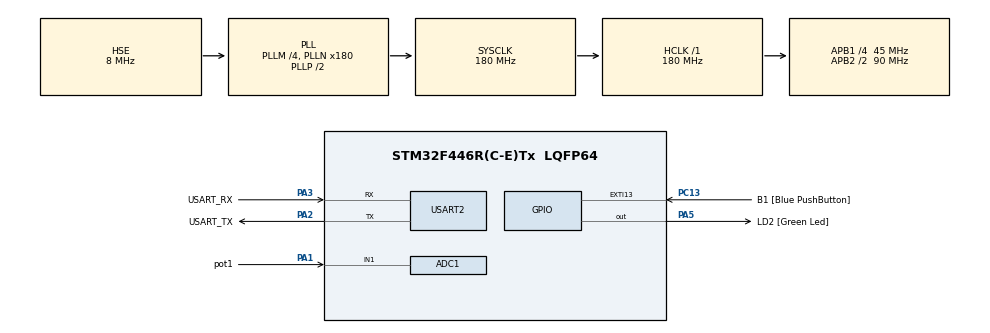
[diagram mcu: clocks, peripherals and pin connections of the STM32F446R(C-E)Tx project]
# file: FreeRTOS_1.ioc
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ADC1.Channel-0\#ChannelRegularConversion=ADC_CHANNEL_1
ADC1.NbrOfConversionFlag=1
ADC1.Rank-0\#ChannelRegularConversion=1
ADC1.SamplingTime-0\#ChannelRegularConversion=ADC_SAMPLETIME_3CYCLES
ADC1.master=1
FREERTOS.Tasks01=ledTask1,-3,128,StartDefaultTask,Default,NULL,Dynamic,NULL,NULL;uartTask,-3,128,StartTask02,Default,NULL,Dynamic,NULL,NULL;adcTask,-3,128,StartTask03,Default,NULL,Dynamic,NULL,NULL
Mcu.Family=STM32F4
Mcu.Name=STM32F446R(C-E)Tx
Mcu.Package=LQFP64
NVIC.PriorityGroup=NVIC_PRIORITYGROUP_4
NVIC.TIM8_UP_TIM13_IRQn=true\:15\:0\:false\:false\:true\:false\:false\:true\:true
NVIC.TimeBase=TIM8_UP_TIM13_IRQn
NVIC.TimeBaseIP=TIM8
PA1.GPIO_Label=pot1
PA1.Signal=ADCx_IN1
PA13.GPIO_Label=TMS
PA13.Mode=Serial_Wire
PA13.Signal=SYS_JTMS-SWDIO
PA14.GPIO_Label=TCK
PA14.Mode=Serial_Wire
PA14.Signal=SYS_JTCK-SWCLK
PA2.GPIO_Label=USART_TX
PA2.Mode=Asynchronous
PA2.Signal=USART2_TX
PA3.GPIO_Label=USART_RX
PA3.Mode=Asynchronous
PA3.Signal=USART2_RX
PA5.GPIO_Label=LD2 [Green Led]
PA5.Signal=GPIO_Output
PB3.GPIO_Label=SWO
PB3.Signal=SYS_JTDO-SWO
PC13.GPIO_Label=B1 [Blue PushButton]
PC13.GPIO_ModeDefaultEXTI=GPIO_MODE_IT_FALLING
PC13.Signal=GPXTI13
PC14-OSC32_IN.Mode=LSE-External-Oscillator
PC14-OSC32_IN.Signal=RCC_OSC32_IN
PC15-OSC32_OUT.Mode=LSE-External-Oscillator
PC15-OSC32_OUT.Signal=RCC_OSC32_OUT
PH0-OSC_IN.Mode=HSE-External-Oscillator
PH0-OSC_IN.Signal=RCC_OSC_IN
PH1-OSC_OUT.Mode=HSE-External-Oscillator
PH1-OSC_OUT.Signal=RCC_OSC_OUT
ProjectManager.HeapSize=0x200
ProjectManager.StackSize=0x400
ProjectManager.TargetToolchain=STM32CubeIDE
RCC.48MHZClocksFreq_Value=84000000
RCC.AHBFreq_Value=180000000
RCC.APB1CLKDivider=RCC_HCLK_DIV4
RCC.APB1Freq_Value=45000000
RCC.APB1TimFreq_Value=90000000
RCC.APB2CLKDivider=RCC_HCLK_DIV2
RCC.APB2Freq_Value=90000000
RCC.APB2TimFreq_Value=180000000
RCC.CortexFreq_Value=180000000
RCC.FLatency-AdvancedSettings=FLASH_LATENCY_5
RCC.HCLKFreq_Value=180000000
RCC.HSE_VALUE=8000000
RCC.HSI_VALUE=16000000
RCC.PLLM=4
RCC.PLLN=180
RCC.PLLSourceVirtual=RCC_PLLSOURCE_HSE
RCC.SYSCLKFreq_VALUE=180000000
RCC.SYSCLKSource=RCC_SYSCLKSOURCE_PLLCLK
RCC.USBFreq_Value=180000000
RCC.VCOOutputFreq_Value=360000000
SH.ADCx_IN1.0=ADC1_IN1,IN1
USART2.VirtualMode=VM_ASYNC
VP_FREERTOS_VS_CMSIS_V1.Mode=CMSIS_V1
VP_SYS_VS_tim8.Mode=TIM8
board=NUCLEO-F446RE

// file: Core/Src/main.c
/* USER CODE BEGIN Header */
/**
  ******************************************************************************
  * @file           : main.c
  * @brief          : Main program body
  ******************************************************************************
  * @attention
  *
  * Copyright (c) 2024 STMicroelectronics.
  * All rights reserved.
  *
  * This software is licensed under terms that can be found in the LICENSE file
  * in the root directory of this software component.
  * If no LICENSE file comes with this software, it is provided AS-IS.
  *
  ******************************************************************************
  */
/* USER CODE END Header */
#include "main.h"
#include "cmsis_os.h"
#include "adc.h"
#include "usart.h"
#include "gpio.h"

void SystemClock_Config(void);
void MX_FREERTOS_Init(void);

int main(void)
{

  /* MCU Configuration--------------------------------------------------------*/

  /* Reset of all peripherals, Initializes the Flash interface and the Systick. */
  HAL_Init();

  /* Configure the system clock */
  SystemClock_Config();

  /* Initialize all configured peripherals */
  MX_GPIO_Init();
  MX_USART2_UART_Init();
  MX_ADC1_Init();

  /* Call init function for freertos objects (in cmsis_os2.c) */
  MX_FREERTOS_Init();

  /* Start scheduler */
  osKernelStart();

  /* We should never get here as control is now taken by the scheduler */

  /* Infinite loop */
  while (1)
  {

  }
}

void SystemClock_Config(void)
{
  RCC_OscInitTypeDef RCC_OscInitStruct = {0};
  RCC_ClkInitTypeDef RCC_ClkInitStruct = {0};

  /** Configure the main internal regulator output voltage
  */
  __HAL_RCC_PWR_CLK_ENABLE();
  __HAL_PWR_VOLTAGESCALING_CONFIG(PWR_REGULATOR_VOLTAGE_SCALE1);

  /** Initializes the RCC Oscillators according to the specified parameters
  * in the RCC_OscInitTypeDef structure.
  */
  RCC_OscInitStruct.OscillatorType = RCC_OSCILLATORTYPE_HSE;
  RCC_OscInitStruct.HSEState = RCC_HSE_ON;
  RCC_OscInitStruct.PLL.PLLState = RCC_PLL_ON;
  RCC_OscInitStruct.PLL.PLLSource = RCC_PLLSOURCE_HSE;
  RCC_OscInitStruct.PLL.PLLM = 4;
  RCC_OscInitStruct.PLL.PLLN = 180;
  RCC_OscInitStruct.PLL.PLLP = RCC_PLLP_DIV2;
  RCC_OscInitStruct.PLL.PLLQ = 2;
  RCC_OscInitStruct.PLL.PLLR = 2;
  if (HAL_RCC_OscConfig(&RCC_OscInitStruct) != HAL_OK)
  {
    Error_Handler();
  }

  /** Activate the Over-Drive mode
  */
  if (HAL_PWREx_EnableOverDrive() != HAL_OK)
  {
    Error_Handler();
  }

  /** Initializes the CPU, AHB and APB buses clocks
  */
  RCC_ClkInitStruct.ClockType = RCC_CLOCKTYPE_HCLK|RCC_CLOCKTYPE_SYSCLK
                              |RCC_CLOCKTYPE_PCLK1|RCC_CLOCKTYPE_PCLK2;
  RCC_ClkInitStruct.SYSCLKSource = RCC_SYSCLKSOURCE_PLLCLK;
  RCC_ClkInitStruct.AHBCLKDivider = RCC_SYSCLK_DIV1;
  RCC_ClkInitStruct.APB1CLKDivider = RCC_HCLK_DIV4;
  RCC_ClkInitStruct.APB2CLKDivider = RCC_HCLK_DIV2;

  if (HAL_RCC_ClockConfig(&RCC_ClkInitStruct, FLASH_LATENCY_5) != HAL_OK)
  {
    Error_Handler();
  }
}

void HAL_TIM_PeriodElapsedCallback(TIM_HandleTypeDef *htim)
{
  if (htim->Instance == TIM8) {
    HAL_IncTick();
  }
}

void Error_Handler(void)
{
  __disable_irq();
  while (1)
  {
  }
}

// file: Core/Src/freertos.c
/* USER CODE BEGIN Header */
/**
  ******************************************************************************
  * File Name          : freertos.c
  * Description        : Code for freertos applications
  ******************************************************************************
  * @attention
  *
  * Copyright (c) 2024 STMicroelectronics.
  * All rights reserved.
  *
  * This software is licensed under terms that can be found in the LICENSE file
  * in the root directory of this software component.
  * If no LICENSE file comes with this software, it is provided AS-IS.
  *
  ******************************************************************************
  */
/* USER CODE END Header */

#include "FreeRTOS.h"
#include "task.h"
#include "main.h"
#include "cmsis_os.h"

/* USER CODE BEGIN Includes */
#include <stdio.h>
#include "adc.h"
#include "usart.h"
#include "gpio.h"
/* USER CODE END Includes */

osThreadId ledTask1Handle;
osThreadId uartTaskHandle;
osThreadId adcTaskHandle;

void StartDefaultTask(void const * argument);
void StartTask02(void const * argument);
void StartTask03(void const * argument);

void MX_FREERTOS_Init(void); /* (MISRA C 2004 rule 8.1) */

/* GetIdleTaskMemory prototype (linked to static allocation support) */
void vApplicationGetIdleTaskMemory( StaticTask_t **ppxIdleTaskTCBBuffer, StackType_t **ppxIdleTaskStackBuffer, uint32_t *pulIdleTaskStackSize );

/* USER CODE BEGIN GET_IDLE_TASK_MEMORY */
static StaticTask_t xIdleTaskTCBBuffer;
static StackType_t xIdleStack[configMINIMAL_STACK_SIZE];

void vApplicationGetIdleTaskMemory( StaticTask_t **ppxIdleTaskTCBBuffer, StackType_t **ppxIdleTaskStackBuffer, uint32_t *pulIdleTaskStackSize )
{
  *ppxIdleTaskTCBBuffer = &xIdleTaskTCBBuffer;
  *ppxIdleTaskStackBuffer = &xIdleStack[0];
  *pulIdleTaskStackSize = configMINIMAL_STACK_SIZE;
  /* place for user code */
}
/* USER CODE END GET_IDLE_TASK_MEMORY */

void MX_FREERTOS_Init(void) {

  /* Create the thread(s) */
  /* definition and creation of ledTask1 */
  osThreadDef(ledTask1, StartDefaultTask, osPriorityIdle, 0, 128);
  ledTask1Handle = osThreadCreate(osThread(ledTask1), NULL);

  /* definition and creation of uartTask */
  osThreadDef(uartTask, StartTask02, osPriorityIdle, 0, 128);
  uartTaskHandle = osThreadCreate(osThread(uartTask), NULL);

  /* definition and creation of adcTask */
  osThreadDef(adcTask, StartTask03, osPriorityIdle, 0, 128);
  adcTaskHandle = osThreadCreate(osThread(adcTask), NULL);

}

void StartDefaultTask(void const * argument)
{
  /* USER CODE BEGIN StartDefaultTask */
  /* Infinite loop */
  for(;;)
  {
	uint8_t str[] = "led status change\n";
	HAL_UART_Transmit(&huart2, str,  strlen(str), 100);
	HAL_GPIO_TogglePin(LD2_GPIO_Port, LD2_Pin);
    osDelay(10);
  }
  /* USER CODE END StartDefaultTask */
}

void StartTask02(void const * argument)
{
  /* USER CODE BEGIN StartTask02 */
  /* Infinite loop */
  for(;;)
  {
	uint8_t str[] = "system start\n";
	HAL_UART_Transmit(&huart2, str,  strlen(str), 100);
    osDelay(5000);
  }
  /* USER CODE END StartTask02 */
}

void StartTask03(void const * argument)
{
  /* USER CODE BEGIN StartTask03 */
  /* Infinite loop */
  for(;;)
  {
	uint8_t str[] = "pot data :";
	uint32_t pot_data;

	HAL_ADC_Start(&hadc1);
	HAL_ADC_PollForConversion(&hadc1, 100);
	pot_data = HAL_ADC_GetValue(&hadc1);
	HAL_ADC_Stop(&hadc1);

	sprintf(str, "pot data :%lu\n", pot_data);

	HAL_UART_Transmit(&huart2, str, strlen(str), 100);
    osDelay(10);
  }
  /* USER CODE END StartTask03 */
}
